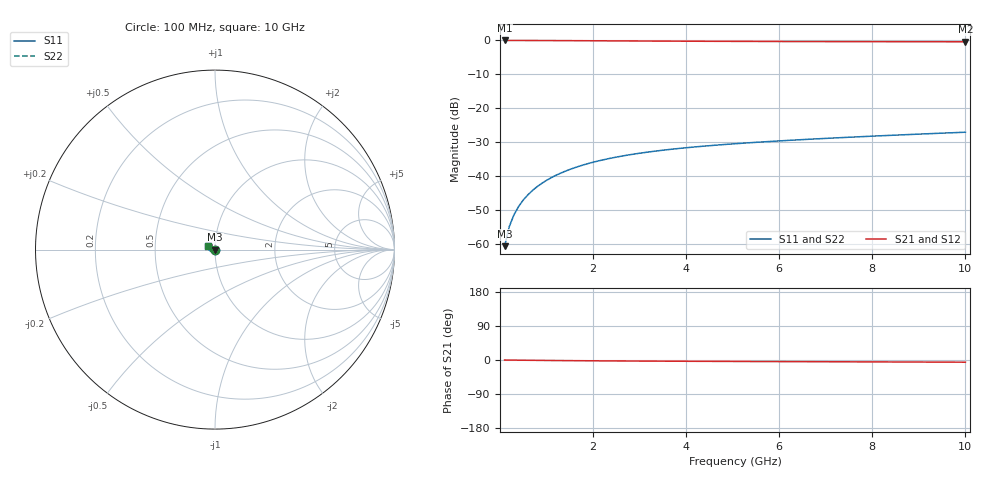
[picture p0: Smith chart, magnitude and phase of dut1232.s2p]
! Touchstone file exported from HFSS 2024.1.0
!  File:  C:/UserFiles/LocalFiles/RDL_TSV_Batchsim/temp_TSV1_1232_1780250577.aedt
!  Generated:  02:09:52 AM Jun  1, 2026
!  Design:  TSV1
!  Project:  temp_TSV1_1232_1780250577
!  Setup:  Setup1
!  Solution:  Sweep
! Variables:
!  dtsv = 7.39um
!  hbump = 3um
!  htsv = 87.86um
!  lrdl = 252.1521522um
!  p = 40
!  p1 = 53.64um
!  t = 500um
!  trdl = 3um
!  wrdl = 24.89489489um
# GHz S MA R 50.000000
! Terminal data exported
! Port[1] = TSV22_T1
! Port[2] = TSV22_T2
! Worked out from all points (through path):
!   100 points, 100 MHz to 10 GHz, reference 50 ohm
!   highest |S21| = 0.00 dB at 100 MHz (marker M1); lowest = -0.4 dB at 10 GHz (marker M2)
!   lowest |S11| = -60.7 dB at 100 MHz (marker M3), VSWR 1.00, Z = 50 - j0.0885 ohm
!   |S11| at or under -10 dB: start of sweep to end of sweep
!   |S22| runs from -60.7 to -27.1 dB; largest |S21 - S12| = 1e-14
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0.1  0.000918 -74.4  0.9997 -0.1  0.9997 -0.1  0.000918 -74.4
! Gamma 0 0 0 0
! Port Impedance 50 0 50 0
0.2  0.001785 -85.1  0.9996 -0.2  0.9996 -0.2  0.001785 -85.1
0.3  0.00266 -90.3  0.9994 -0.4  0.9994 -0.4  0.00266 -90.3
0.4  0.003533 -93.9  0.9992 -0.5  0.9992 -0.5  0.003533 -93.9
0.5  0.0044 -96.9  0.9989 -0.6  0.9989 -0.6  0.0044 -96.9
0.6  0.00526 -99.6  0.9985 -0.7  0.9985 -0.7  0.00526 -99.6
0.7  0.006111 -102.1  0.9981 -0.8  0.9981 -0.8  0.006111 -102.1
0.8  0.006951 -104.5  0.9976 -0.9  0.9976 -0.9  0.006951 -104.5
0.9  0.00778 -106.8  0.9971 -1.1  0.9971 -1.1  0.00778 -106.8
1.1  0.009399 -111.2  0.996 -1.3  0.996 -1.3  0.009399 -111.2
1.4  0.01172 -117.4  0.9939 -1.6  0.9939 -1.6  0.01172 -117.4
1.6  0.01318 -121.3  0.9925 -1.8  0.9925 -1.8  0.01318 -121.3
1.8  0.01458 -125.1  0.9909 -1.9  0.9909 -1.9  0.01458 -125.1
2.1  0.01655 -130.6  0.9885 -2.2  0.9885 -2.2  0.01655 -130.6
2.5  0.01895 -137.4  0.9853 -2.5  0.9853 -2.5  0.01895 -137.4
2.9  0.02111 -143.7  0.9821 -2.8  0.9821 -2.8  0.02111 -143.7
3.4  0.02351 -150.9  0.9785 -3.0  0.9785 -3.0  0.02351 -150.9
4.2  0.02683 -161.2  0.9734 -3.4  0.9734 -3.4  0.02683 -161.2
5.1  0.03002 -171.2  0.9688 -3.8  0.9688 -3.8  0.03002 -171.2
6.7  0.03494 174.3  0.9629 -4.5  0.9629 -4.5  0.03494 174.3
8.4  0.03975 162.2  0.9587 -5.2  0.9587 -5.2  0.03975 162.2
10  0.04418 153.0  0.956 -5.8  0.956 -5.8  0.04418 153.0
